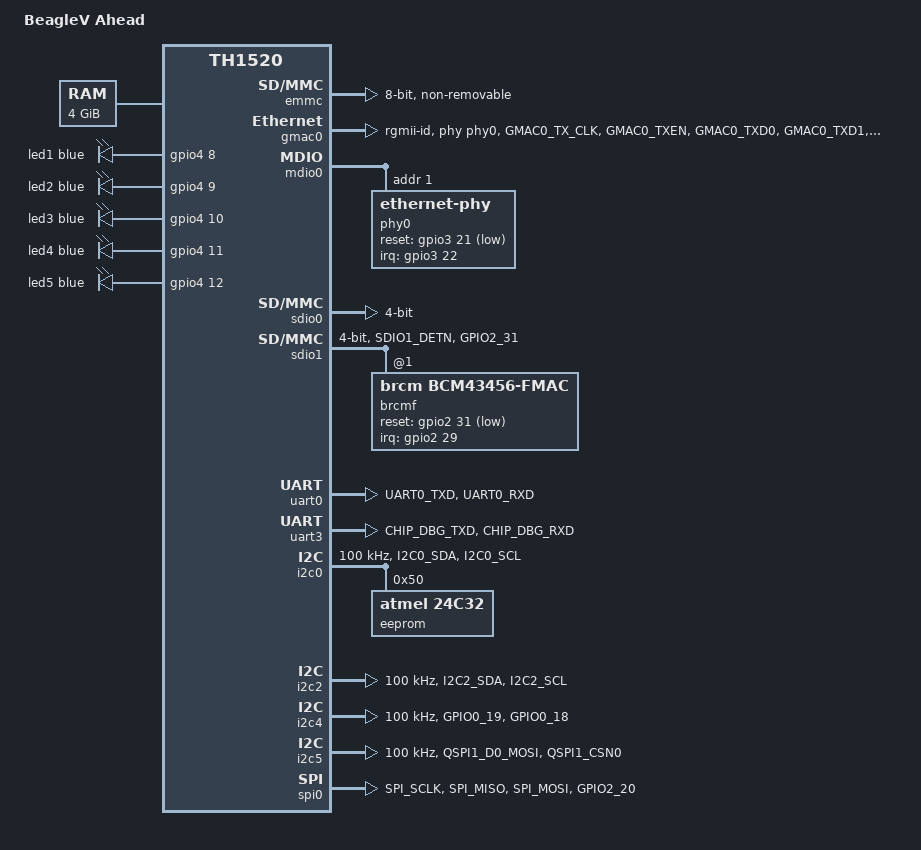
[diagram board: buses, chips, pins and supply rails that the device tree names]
// SPDX-License-Identifier: (GPL-2.0 OR MIT)
/*
 * Copyright (C) 2023 Jisheng Zhang <jszhang@kernel.org>
 * Copyright (C) 2023 Drew Fustini <dfustini@baylibre.com>
 */

/dts-v1/;

#include "th1520.dtsi"
#include <dt-bindings/gpio/gpio.h>
#include <dt-bindings/leds/common.h>

/ {
	model = "BeagleV Ahead";
	compatible = "beagle,beaglev-ahead", "thead,th1520";

	aliases {
		ethernet0 = &gmac0;
		gpio0 = &gpio0;
		gpio1 = &gpio1;
		gpio2 = &gpio2;
		gpio3 = &gpio3;
		gpio4 = &gpio4;
		gpio5 = &aogpio;
		serial0 = &uart0;
		serial1 = &uart1;
		serial2 = &uart2;
		serial3 = &uart3;
		serial4 = &uart4;
		serial5 = &uart5;
		spi0 = &spi0;
	};

	chosen {
		stdout-path = "serial0:115200n8";
	};

	memory@0 {
		device_type = "memory";
		reg = <0x0 0x00000000 0x1 0x00000000>;
	};

	leds {
		pinctrl-names = "default";
		pinctrl-0 = <&led_pins>;
		compatible = "gpio-leds";

		led-1 {
			gpios = <&gpio4 8 GPIO_ACTIVE_HIGH>;
			color = <LED_COLOR_ID_BLUE>;
			label = "led1";
		};

		led-2 {
			gpios = <&gpio4 9 GPIO_ACTIVE_HIGH>;
			color = <LED_COLOR_ID_BLUE>;
			label = "led2";
		};

		led-3 {
			gpios = <&gpio4 10 GPIO_ACTIVE_HIGH>;
			color = <LED_COLOR_ID_BLUE>;
			label = "led3";
		};

		led-4 {
			gpios = <&gpio4 11 GPIO_ACTIVE_HIGH>;
			color = <LED_COLOR_ID_BLUE>;
			label = "led4";
		};

		led-5 {
			gpios = <&gpio4 12 GPIO_ACTIVE_HIGH>;
			color = <LED_COLOR_ID_BLUE>;
			label = "led5";
		};
	};
};

&osc {
	clock-frequency = <24000000>;
};

&osc_32k {
	clock-frequency = <32768>;
};

&dmac0 {
	status = "okay";
};

&emmc {
	bus-width = <8>;
	max-frequency = <198000000>;
	mmc-hs400-1_8v;
	non-removable;
	no-sdio;
	no-sd;
	status = "okay";
};

&gmac0 {
	pinctrl-names = "default";
	pinctrl-0 = <&gmac0_pins>;
	phy-handle = <&phy0>;
	phy-mode = "rgmii-id";
	status = "okay";
};

&mdio0 {
	phy0: ethernet-phy@1 {
		reg = <1>;
		interrupt-parent = <&gpio3>;
		interrupts = <22 IRQ_TYPE_LEVEL_LOW>;
		reset-gpios = <&gpio3 21 GPIO_ACTIVE_LOW>;
		reset-delay-us = <10000>;
		reset-post-delay-us = <50000>;
	};
};

&padctrl_aosys {
	led_pins: led-0 {
		led-pins {
			pins = "AUDIO_PA8",  /* GPIO4_8 */
				   "AUDIO_PA9",  /* GPIO4_9 */
				   "AUDIO_PA10", /* GPIO4_10 */
				   "AUDIO_PA11", /* GPIO4_11 */
				   "AUDIO_PA12"; /* GPIO4_12 */
			bias-disable;
			drive-strength = <3>;
			input-disable;
			input-schmitt-disable;
			slew-rate = <0>;
		};
	};

	mikrobus_rst_pins: mikrobus-rst-0 {
		rst-pins {
			pins = "AUDIO_PA3"; /* GPIO4_3 */
			function = "gpio";
			bias-disable;
			drive-strength = <3>;
			output-high;
			input-disable;
			input-schmitt-disable;
			slew-rate = <0>;
		};
	};
};

&padctrl0_apsys {
	i2c2_pins: i2c2-0 {
		i2c-pins {
			pins = "I2C2_SDA",
				   "I2C2_SCL";
			function = "i2c";
			bias-pull-up = <48000>;
			drive-strength = <7>;
			input-enable;
			input-schmitt-enable;
			slew-rate = <0>;
		};
	};

	gmac0_pins: gmac0-0 {
		tx-pins {
			pins = "GMAC0_TX_CLK",
				   "GMAC0_TXEN",
				   "GMAC0_TXD0",
				   "GMAC0_TXD1",
				   "GMAC0_TXD2",
				   "GMAC0_TXD3";
			function = "gmac0";
			bias-disable;
			drive-strength = <25>;
			input-disable;
			input-schmitt-disable;
			slew-rate = <0>;
		};

		rx-pins {
			pins = "GMAC0_RX_CLK",
				   "GMAC0_RXDV",
				   "GMAC0_RXD0",
				   "GMAC0_RXD1",
				   "GMAC0_RXD2",
				   "GMAC0_RXD3";
			function = "gmac0";
			bias-disable;
			drive-strength = <1>;
			input-enable;
			input-schmitt-disable;
			slew-rate = <0>;
		};

		mdc-pins {
			pins = "GMAC0_MDC";
			function = "gmac0";
			bias-disable;
			drive-strength = <13>;
			input-disable;
			input-schmitt-disable;
			slew-rate = <0>;
		};

		mdio-pins {
			pins = "GMAC0_MDIO";
			function = "gmac0";
			bias-disable;
			drive-strength = <13>;
			input-enable;
			input-schmitt-enable;
			slew-rate = <0>;
		};

		phy-reset-pins {
			pins = "GMAC0_COL"; /* GPIO3_21 */
			bias-disable;
			drive-strength = <3>;
			input-disable;
			input-schmitt-disable;
			slew-rate = <0>;
		};

		phy-interrupt-pins {
			pins = "GMAC0_CRS"; /* GPIO3_22 */
			function = "gpio";
			bias-pull-up;
			drive-strength = <1>;
			input-enable;
			input-schmitt-enable;
			slew-rate = <0>;
		};
	};

	mikrobus_gpio_pins: mikrobus-gpio-0 {
		pwm-pins {
			pins = "QSPI0_SSN1"; /* PWM2 */
			function = "gpio";
			bias-disable;
			drive-strength = <3>;
			input-disable;
			input-schmitt-disable;
			slew-rate = <0>;
		};

		int-pins {
			pins = "GPIO2_21";
			function = "gpio";
			bias-pull-up;
			drive-strength = <1>;
			input-enable;
			input-schmitt-enable;
			slew-rate = <0>;
		};
	};

	mikrobus_spi_pins: spi0-0 {
		spi-pins {
			pins = "SPI_SCLK",
				   "SPI_MISO",
				   "SPI_MOSI";
			function = "spi";
			bias-disable;
			drive-strength = <7>;
			input-enable; /* For MISO */
			input-schmitt-enable;
			slew-rate = <0>;
		};

		cs-pins {
			pins = "GPIO2_20"; /* CS pin */
			function = "gpio";
			bias-disable;
			drive-strength = <7>;
			output-high; /* CS is active low, so default high */
			input-disable;
			input-schmitt-disable;
			slew-rate = <0>;
		};
	};

	uart0_pins: uart0-0 {
		tx-pins {
			pins = "UART0_TXD";
			function = "uart";
			bias-disable;
			drive-strength = <3>;
			input-disable;
			input-schmitt-disable;
			slew-rate = <0>;
		};

		rx-pins {
			pins = "UART0_RXD";
			function = "uart";
			bias-pull-up;
			drive-strength = <1>;
			input-enable;
			input-schmitt-enable;
			slew-rate = <0>;
		};
	};

	wifi_pins: wifi-pins {
		wifi-host-wake {
			pins = "SDIO1_DETN";
			bias-pull-up;
			input-enable;
		};

		wifi-reset {
			pins = "GPIO2_31";
			bias-pull-up;
			drive-strength = <8>;
			output-high;
		};
	};
};

&sdio0 {
	bus-width = <4>;
	max-frequency = <198000000>;
	status = "okay";
};

&padctrl1_apsys {
	i2c0_pins: i2c0-0 {
		i2c-pins {
			pins = "I2C0_SDA",
				   "I2C0_SCL";
			function = "i2c";
			bias-pull-up = <48000>;
			drive-strength = <7>;
			input-enable;
			input-schmitt-enable;
			slew-rate = <0>;
		};
	};

	mikrobus_i2c_pins: i2c4-0 {
		i2c-pins {
			pins = "GPIO0_19", /* I2C4_SDA */
				   "GPIO0_18"; /* I2C4_SCL */
			function = "i2c";
			bias-pull-up = <48000>;
			drive-strength = <7>;
			input-enable;
			input-schmitt-enable;
			slew-rate = <0>;
		};
	};

	i2c5_pins: i2c5-0 {
		i2c-pins {
			pins = "QSPI1_D0_MOSI", /* I2C5_SDA */
				   "QSPI1_CSN0";    /* I2C5_SCL */
			function = "i2c";
			bias-pull-up = <48000>;
			drive-strength = <7>;
			input-enable;
			input-schmitt-enable;
			slew-rate = <0>;
		};
	};

	mikrobus_uart_pins: uart3-0 {
		tx-pins {
			pins = "CHIP_DBG_TXD"; /* UART3_TXD */
			function = "uart";
			bias-disable;
			drive-strength = <3>;
			input-disable;
			input-schmitt-disable;
			slew-rate = <0>;
		};

		rx-pins {
			pins = "CHIP_DBG_RXD"; /* UART3_RXD */
			function = "uart";
			bias-pull-up;
			drive-strength = <1>;
			input-enable;
			input-schmitt-enable;
			slew-rate = <0>;
		};
	};
};

&sdio1 {
	bus-width = <4>;
	max-frequency = <198000000>;
	status = "okay";
	pinctrl-names = "default";
	pinctrl-0 = <&wifi_pins>;

	#address-cells = <1>;
	#size-cells = <0>;

	brcmf: wifi@1 {
		status = "okay";
		compatible = "brcm,bcm43456-fmac", "brcm,bcm4329-fmac";
		reg = <1>;
		interrupt-parent = <&gpio2>;
		interrupts = <29 IRQ_TYPE_EDGE_FALLING>;
		interrupt-names = "host-wake";
		reset-gpios = <&gpio2 31 GPIO_ACTIVE_LOW>;
		brcm,ccode-map = "JP-JP-78", "US-Q2-86";
	};
};

&uart0 {
	pinctrl-names = "default";
	pinctrl-0 = <&uart0_pins>;
	status = "okay";
};

&uart3 {
	pinctrl-names = "default";
	pinctrl-0 = <&mikrobus_uart_pins>;
	status = "okay";
};

&i2c0 {
	clock-frequency = <100000>;
	pinctrl-names = "default";
	pinctrl-0 = <&i2c0_pins>;
	status = "okay";

	eeprom@50 {
		compatible = "atmel,24c32";
		reg = <0x50>;
	};
};

&i2c2 {
	clock-frequency = <100000>;
	pinctrl-names = "default";
	pinctrl-0 = <&i2c2_pins>;
	status = "okay";
};

&i2c4 {
	clock-frequency = <100000>;
	pinctrl-names = "default";
	pinctrl-0 = <&mikrobus_i2c_pins>;
	status = "okay";
};

&i2c5 {
	clock-frequency = <100000>;
	pinctrl-names = "default";
	pinctrl-0 = <&i2c5_pins>;
	status = "okay";
};

&spi0 {
	pinctrl-names = "default";
	pinctrl-0 = <&mikrobus_spi_pins>;
	status = "okay";
};
